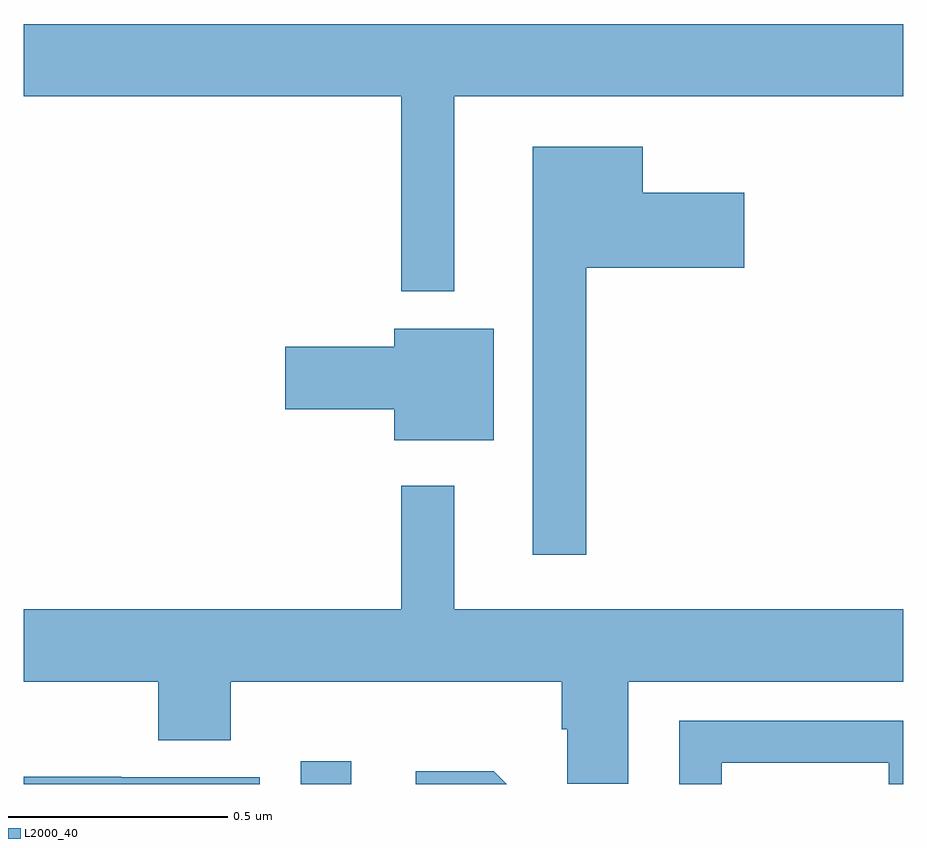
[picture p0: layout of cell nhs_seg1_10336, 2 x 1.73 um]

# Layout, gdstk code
import gdstk
lib = gdstk.Library(unit=1e-6, precision=1e-09)
def R(c, l, rs):  # rectangles x0, y0, x1, y1
    for r in rs: c.add(gdstk.rectangle(r[:2], r[2:], *l))
def P(c, l, *ps):  # polygons
    for p in ps: c.add(gdstk.Polygon(p, *l))
L2000_40 = (2000, 40)

nhs_seg1_10336 = lib.new_cell('nhs_seg1_10336')
R(nhs_seg1_10336, L2000_40, [(240.63,518.199,240.745,518.251)])
P(nhs_seg1_10336, L2000_40, [(240.979,519.764),(242,519.764),(242,519.928),(240,519.928),(240,519.764),(240.858,519.764),(240.858,519.32),(240.979,519.32)],
  [(241.279,519.374),(241.639,519.374),(241.639,519.544),(241.408,519.544),(241.408,519.649),(241.157,519.649),(241.157,518.721),(241.279,518.721)],
  [(241.069,519.235),(240.842,519.235),(240.842,519.194),(240.594,519.194),(240.594,519.052),(240.842,519.052),(240.842,518.981),(241.069,518.981)],
  [(241.375,518.432),(242,518.432),(242,518.596),(240.979,518.596),(240.979,518.878),(240.858,518.878),(240.858,518.596),(240,518.596),(240,518.432),(240.305,518.432),(240.305,518.299),(240.47,518.299),(240.47,518.432),(241.223,518.432),(241.223,518.323),(241.236,518.323),(241.236,518.2),(241.375,518.2)],
  [(241.587,518.247),(241.968,518.247),(241.968,518.199),(242,518.199),(242,518.343),(241.491,518.343),(241.491,518.199),(241.587,518.199)],
  [(241.069,518.228),(240.891,518.228),(240.891,518.199),(241.098,518.199)],
  [(240.537,518.214),(240.221,518.214),(240.221,518.216),(240,518.216),(240,518.199),(240.537,518.199)])

lib.write_gds('nhs_seg1_10336.gds')
